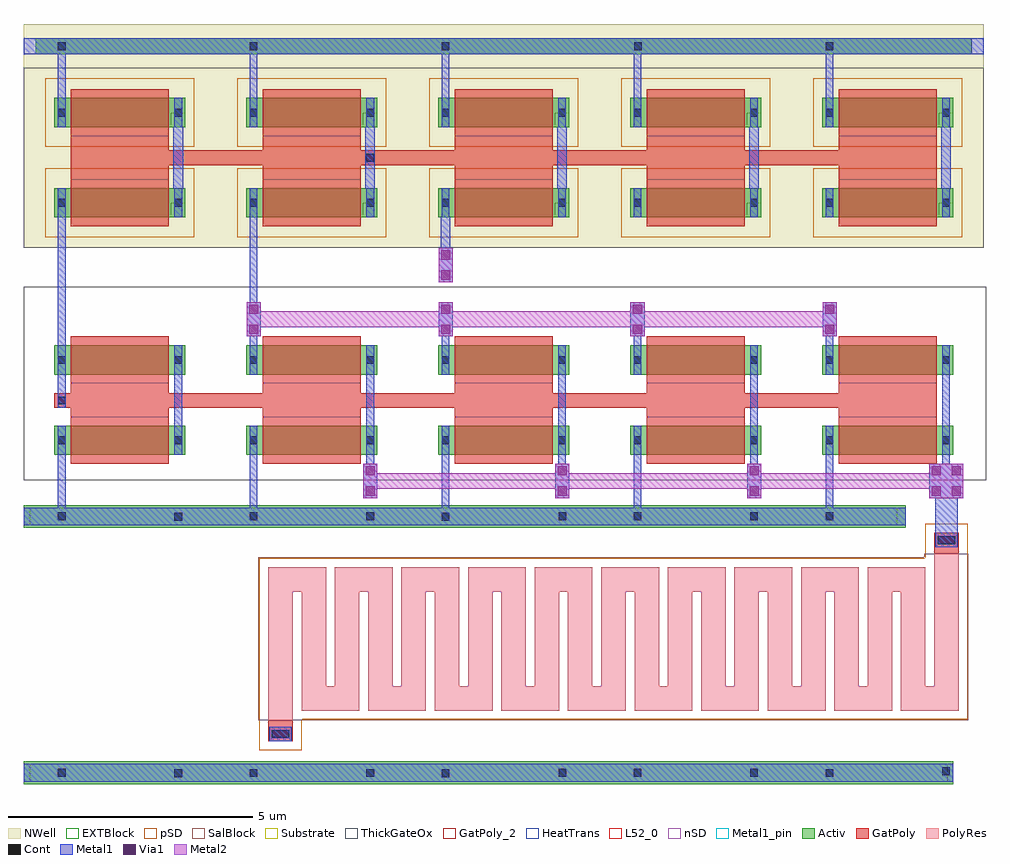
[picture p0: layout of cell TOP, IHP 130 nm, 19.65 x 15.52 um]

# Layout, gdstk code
import gdstk
lib = gdstk.Library(unit=1e-6, precision=1e-09)
def R(c, l, rs):  # rectangles x0, y0, x1, y1
    for r in rs: c.add(gdstk.rectangle(r[:2], r[2:], *l))
def A(c, l, x, y, w, h, nx, ny, dx, dy):  # array of equal rectangles
    R(c, l, [(x+i*dx, y+j*dy, x+i*dx+w, y+j*dy+h) for i in range(nx) for j in range(ny)])
Activ = (1, 0)
GatPoly = (5, 0)
GatPoly_2 = (5, 2)
Cont = (6, 0)
nSD = (7, 0)
Metal1 = (8, 0)
Metal1_pin = (8, 2)
Metal2 = (10, 0)
pSD = (14, 0)
Via1 = (19, 0)
SalBlock = (28, 0)
NWell = (31, 0)
Substrate = (40, 0)
ThickGateOx = (44, 0)
HeatTrans = (51, 0)
L52_0 = (52, 0)
EXTBlock = (111, 0)
PolyRes = (128, 0)

nmoshv = lib.new_cell('nmosHV')
R(nmoshv, Activ, [(0,0,0.3,0.3), (0,0,2.68,0.6), (2.38,0,2.68,0.3)])
R(nmoshv, GatPoly, [(0.34,-0.18,2.34,0.78)])
R(nmoshv, GatPoly_2, [(0.34,-0.18,2.34,0.78)])
R(nmoshv, Cont, [(0.07,0.22,0.23,0.38), (2.45,0.22,2.61,0.38)])
R(nmoshv, Metal1, [(0.07,0,0.23,0.6), (2.45,0,2.61,0.6)])
R(nmoshv, Metal1_pin, [(0.07,0,0.23,0.6), (2.45,0,2.61,0.6)])
R(nmoshv, ThickGateOx, [(-0.27,-0.52,2.95,1.12)])
R(nmoshv, HeatTrans, [(0.34,-0.18,2.34,0.78)])
nmoshv.add(gdstk.Label('nmosHV', (1.34,0.3), layer=63, texttype=0))
nmoshv.add(gdstk.Label('nmosHV', (1.34,0.3), layer=51, texttype=0))

via_stack = lib.new_cell('via_stack')
R(via_stack, Metal1, [(-0.145,-0.35,0.145,0.35)])
R(via_stack, Metal2, [(-0.145,-0.35,0.145,0.35)])
R(via_stack, Via1, [(-0.095,-0.3,0.095,-0.11), (-0.095,0.11,0.095,0.3)])

via_stack_1 = lib.new_cell('via_stack$1')
R(via_stack_1, Metal1, [(-0.35,-0.35,0.35,0.35)])
R(via_stack_1, Metal2, [(-0.35,-0.35,0.35,0.35)])
R(via_stack_1, Via1, [(-0.3,-0.3,-0.11,-0.11), (0.11,-0.3,0.3,-0.11), (-0.3,0.11,-0.11,0.3), (0.11,0.11,0.3,0.3)])

pmoshv = lib.new_cell('pmosHV')
R(pmoshv, Activ, [(0,0,0.3,0.3), (0,0,2.68,0.6), (2.38,0,2.68,0.3)])
R(pmoshv, GatPoly, [(0.34,-0.18,2.34,0.78)])
R(pmoshv, GatPoly_2, [(0.34,-0.18,2.34,0.78)])
R(pmoshv, Cont, [(0.07,0.22,0.23,0.38), (2.45,0.22,2.61,0.38)])
R(pmoshv, Metal1, [(0.07,0,0.23,0.6), (2.45,0,2.61,0.6)])
R(pmoshv, Metal1_pin, [(0.07,0,0.23,0.6), (2.45,0,2.61,0.6)])
R(pmoshv, pSD, [(-0.18,-0.4,2.86,1)])
R(pmoshv, NWell, [(-0.62,-0.62,3.3,1.22)])
R(pmoshv, Substrate, [(2.38,0,2.68,0.3)])
R(pmoshv, ThickGateOx, [(-0.62,-0.62,3.3,1.22)])
R(pmoshv, HeatTrans, [(0.34,-0.18,2.34,0.78)])
pmoshv.add(gdstk.Label('pmosHV', (1.34,0.3), layer=63, texttype=0))
pmoshv.add(gdstk.Label('pmos', (1.34,0.3), layer=51, texttype=0))

rppd = lib.new_cell('rppd')
R(rppd, GatPoly, [(0,-0.43,0.5,-0.2), (0,-0.2,0.5,0), (13.6,3.4,14.1,3.6), (13.6,3.6,14.1,3.83)])
R(rppd, Cont, [(0.07,-0.36,0.43,-0.2), (13.67,3.6,14.03,3.76)])
R(rppd, Metal1, [(0.02,-0.43,0.48,-0.13), (13.62,3.53,14.08,3.83)])
R(rppd, Metal1_pin, [(0.02,-0.43,0.48,-0.13), (13.62,3.53,14.08,3.83)])
R(rppd, pSD, [(-0.18,-0.61,0.68,0.02), (-0.18,0.02,14.28,3.31), (13.42,3.31,14.28,3.4), (13.42,3.4,14.28,4.01)])
R(rppd, SalBlock, [(-0.2,0,14.3,3.33), (13.4,3.33,14.3,3.4)])
A(rppd, L52_0, 0.68, 0.2, 1.18, 0.5, 10, 1, 1.36, 0)
A(rppd, L52_0, 0.68, 0.7, 0.5, 1.93, 19, 1, 0.68, 0)
A(rppd, L52_0, 0, 2.63, 1.18, 0.5, 10, 1, 1.36, 0)
R(rppd, L52_0, [(0,0,0.5,2.63), (13.6,0.7,14.1,3.4)])
R(rppd, EXTBlock, [(-0.18,-0.61,0.68,0), (-0.2,0,14.3,3.33), (13.4,3.33,14.3,3.4), (13.42,3.4,14.28,4.01)])
A(rppd, PolyRes, 0.68, 0.2, 1.18, 0.5, 10, 1, 1.36, 0)
A(rppd, PolyRes, 0.68, 0.7, 0.5, 1.93, 19, 1, 0.68, 0)
A(rppd, PolyRes, 0, 2.63, 1.18, 0.5, 10, 1, 1.36, 0)
R(rppd, PolyRes, [(0,0,0.5,2.63), (13.6,0.7,14.1,3.4)])
rppd.add(gdstk.Label('rppd r=29192.452', (0.25,0.965), layer=63, texttype=0))
rppd.add(gdstk.Label('rppd', (0.25,1.315), layer=52, texttype=0))
rppd.add(gdstk.Label('rppd', (0.59,2.88), layer=52, texttype=0))
rppd.add(gdstk.Label('rppd', (0.93,1.665), layer=52, texttype=0))
rppd.add(gdstk.Label('rppd', (1.27,0.45), layer=52, texttype=0))
rppd.add(gdstk.Label('rppd', (1.61,1.665), layer=52, texttype=0))
rppd.add(gdstk.Label('rppd', (1.95,2.88), layer=52, texttype=0))
rppd.add(gdstk.Label('rppd', (2.29,1.665), layer=52, texttype=0))
rppd.add(gdstk.Label('rppd', (2.63,0.45), layer=52, texttype=0))
rppd.add(gdstk.Label('rppd', (2.97,1.665), layer=52, texttype=0))
rppd.add(gdstk.Label('rppd', (3.31,2.88), layer=52, texttype=0))
rppd.add(gdstk.Label('rppd', (3.65,1.665), layer=52, texttype=0))
rppd.add(gdstk.Label('rppd', (3.99,0.45), layer=52, texttype=0))
rppd.add(gdstk.Label('rppd', (4.33,1.665), layer=52, texttype=0))
rppd.add(gdstk.Label('rppd', (4.67,2.88), layer=52, texttype=0))
rppd.add(gdstk.Label('rppd', (5.01,1.665), layer=52, texttype=0))
rppd.add(gdstk.Label('rppd', (5.35,0.45), layer=52, texttype=0))
rppd.add(gdstk.Label('rppd', (5.69,1.665), layer=52, texttype=0))
rppd.add(gdstk.Label('rppd', (6.03,2.88), layer=52, texttype=0))
rppd.add(gdstk.Label('rppd', (6.37,1.665), layer=52, texttype=0))
rppd.add(gdstk.Label('rppd', (6.71,0.45), layer=52, texttype=0))
rppd.add(gdstk.Label('rppd', (7.05,1.665), layer=52, texttype=0))
rppd.add(gdstk.Label('rppd', (7.39,2.88), layer=52, texttype=0))
rppd.add(gdstk.Label('rppd', (7.73,1.665), layer=52, texttype=0))
rppd.add(gdstk.Label('rppd', (8.07,0.45), layer=52, texttype=0))
rppd.add(gdstk.Label('rppd', (8.41,1.665), layer=52, texttype=0))
rppd.add(gdstk.Label('rppd', (8.75,2.88), layer=52, texttype=0))
rppd.add(gdstk.Label('rppd', (9.09,1.665), layer=52, texttype=0))
rppd.add(gdstk.Label('rppd', (9.43,0.45), layer=52, texttype=0))
rppd.add(gdstk.Label('rppd', (9.77,1.665), layer=52, texttype=0))
rppd.add(gdstk.Label('rppd', (10.11,2.88), layer=52, texttype=0))
rppd.add(gdstk.Label('rppd', (10.45,1.665), layer=52, texttype=0))
rppd.add(gdstk.Label('rppd', (10.79,0.45), layer=52, texttype=0))
rppd.add(gdstk.Label('rppd', (11.13,1.665), layer=52, texttype=0))
rppd.add(gdstk.Label('rppd', (11.47,2.88), layer=52, texttype=0))
rppd.add(gdstk.Label('rppd', (11.81,1.665), layer=52, texttype=0))
rppd.add(gdstk.Label('rppd', (12.15,0.45), layer=52, texttype=0))
rppd.add(gdstk.Label('rppd', (12.49,1.665), layer=52, texttype=0))
rppd.add(gdstk.Label('rppd', (12.83,2.88), layer=52, texttype=0))
rppd.add(gdstk.Label('rppd', (13.17,1.665), layer=52, texttype=0))
rppd.add(gdstk.Label('rppd', (13.51,0.45), layer=52, texttype=0))
rppd.add(gdstk.Label('rppd', (13.85,2.05), layer=52, texttype=0))

top = lib.new_cell('TOP')
A(top, Cont, 2.76, 10.815, 0.16, 0.16, 3, 1, 3.92, 0)
R(top, Cont, [(5.14,-4.03,5.3,-3.87), (10.6,-4.03,10.76,-3.87), (6.68,-4.025,6.84,-3.865), (9.06,-4.025,9.22,-3.865), (18.44,-4.025,18.6,-3.865), (2.76,-4.02,2.92,-3.86), (12.99,-4.02,13.15,-3.86), (14.52,-4.02,14.68,-3.86), (16.9,-4.02,17.06,-3.86), (20.82,-3.99,20.98,-3.83), (5.14,1.21,5.3,1.37), (10.6,1.21,10.76,1.37), (6.68,1.215,6.84,1.375), (9.06,1.215,9.22,1.375), (18.44,1.215,18.6,1.375), (2.76,1.22,2.92,1.38), (12.99,1.22,13.15,1.38), (14.52,1.22,14.68,1.38), (16.9,1.22,17.06,1.38), (2.76,3.58,2.92,3.74), (9.06,8.54,9.22,8.7), (14.53,10.815,14.69,10.975), (18.44,10.815,18.6,10.975)])
R(top, NWell, [(2.07,6.78,21.67,11.35)])
R(top, ThickGateOx, [(2.07,2.03,21.72,5.98), (2.42,2.03,21.32,5.31)])
top.add(gdstk.FlexPath([(20.9,1.67),(20.9,4.79)], 0.16, ends="flush", simple_path=True, layer=8, datatype=0))  # Metal1
top.add(gdstk.FlexPath([(6.76,4.19),(6.76,8)], 0.16, ends="flush", simple_path=True, layer=8, datatype=0))  # Metal1
top.add(gdstk.FlexPath([(10.68,4.79),(10.68,5.67)], 0.16, ends="flush", simple_path=True, layer=8, datatype=0))  # Metal1
top.add(gdstk.FlexPath([(14.6,4.79),(14.6,5.67)], 0.16, ends="flush", simple_path=True, layer=8, datatype=0))  # Metal1
top.add(gdstk.FlexPath([(18.52,4.79),(18.52,5.67)], 0.16, ends="flush", simple_path=True, layer=8, datatype=0))  # Metal1
top.add(gdstk.FlexPath([(5.22,3.15),(5.22,4.19)], 0.16, ends="flush", simple_path=True, layer=8, datatype=0))  # Metal1
top.add(gdstk.FlexPath([(20.91,0.96),(20.91,2.02)], 0.46, ends="flush", simple_path=True, layer=8, datatype=0))  # Metal1
top.add(gdstk.FlexPath([(6.76,2.55),(6.76,1.295)], 0.16, ends="flush", simple_path=True, layer=8, datatype=0))  # Metal1
top.add(gdstk.FlexPath([(10.68,2.55),(10.68,1.295)], 0.16, ends="flush", simple_path=True, layer=8, datatype=0))  # Metal1
top.add(gdstk.FlexPath([(14.6,2.55),(14.6,1.295)], 0.16, ends="flush", simple_path=True, layer=8, datatype=0))  # Metal1
top.add(gdstk.FlexPath([(18.52,2.55),(18.52,1.295)], 0.16, ends="flush", simple_path=True, layer=8, datatype=0))  # Metal1
top.add(gdstk.FlexPath([(20.9,9.24),(20.9,8)], 0.2, ends="flush", simple_path=True, layer=8, datatype=0))  # Metal1
top.add(gdstk.FlexPath([(16.98,9.24),(16.98,8)], 0.2, ends="flush", simple_path=True, layer=8, datatype=0))  # Metal1
top.add(gdstk.FlexPath([(13.06,9.24),(13.06,8)], 0.2, ends="flush", simple_path=True, layer=8, datatype=0))  # Metal1
top.add(gdstk.FlexPath([(5.22,9.24),(5.22,8)], 0.2, ends="flush", simple_path=True, layer=8, datatype=0))  # Metal1
top.add(gdstk.FlexPath([(9.14,9.24),(9.14,8)], 0.2, ends="flush", simple_path=True, layer=8, datatype=0))  # Metal1
top.add(gdstk.FlexPath([(2.84,9.24),(2.84,10.84)], 0.16, ends="flush", simple_path=True, layer=8, datatype=0))  # Metal1
top.add(gdstk.FlexPath([(2.07,10.895),(21.67,10.895)], 0.33, ends="flush", simple_path=True, layer=8, datatype=0))  # Metal1
top.add(gdstk.FlexPath([(18.52,9.24),(18.52,10.84)], 0.16, ends="flush", simple_path=True, layer=8, datatype=0))  # Metal1
top.add(gdstk.FlexPath([(14.6,9.24),(14.6,10.84)], 0.16, ends="flush", simple_path=True, layer=8, datatype=0))  # Metal1
top.add(gdstk.FlexPath([(10.68,9.24),(10.68,10.84)], 0.16, ends="flush", simple_path=True, layer=8, datatype=0))  # Metal1
top.add(gdstk.FlexPath([(6.76,9.24),(6.76,10.84)], 0.16, ends="flush", simple_path=True, layer=8, datatype=0))  # Metal1
top.add(gdstk.FlexPath([(2.84,2.85),(2.84,1.295)], 0.16, ends="flush", simple_path=True, layer=8, datatype=0))  # Metal1
top.add(gdstk.FlexPath([(2.07,1.295),(20.08,1.295)], 0.36, ends="flush", simple_path=True, layer=8, datatype=0))  # Metal1
top.add(gdstk.FlexPath([(2.84,3.51),(2.84,8)], 0.16, ends="flush", simple_path=True, layer=8, datatype=0))  # Metal1
top.add(gdstk.FlexPath([(9.14,1.67),(9.14,4.79)], 0.16, ends="flush", simple_path=True, layer=8, datatype=0))  # Metal1
top.add(gdstk.FlexPath([(16.98,1.67),(16.98,4.79)], 0.16, ends="flush", simple_path=True, layer=8, datatype=0))  # Metal1
top.add(gdstk.FlexPath([(13.06,1.67),(13.06,4.79)], 0.16, ends="flush", simple_path=True, layer=8, datatype=0))  # Metal1
top.add(gdstk.FlexPath([(10.68,7.4),(10.68,6.21)], 0.2, ends="flush", simple_path=True, layer=8, datatype=0))  # Metal1
top.add(gdstk.FlexPath([(2.07,-3.94),(21.05,-3.94)], 0.36, ends="flush", simple_path=True, layer=8, datatype=0))  # Metal1
top.add(gdstk.FlexPath([(21.43,10.895),(2.31,10.895)], 0.33, ends="flush", simple_path=True, layer=1, datatype=0))  # Activ
top.add(gdstk.FlexPath([(2.07,1.295),(20.08,1.295)], 0.46, ends="flush", simple_path=True, layer=1, datatype=0))  # Activ
top.add(gdstk.FlexPath([(2.07,-3.94),(21.05,-3.94)], 0.46, ends="flush", simple_path=True, layer=1, datatype=0))  # Activ
top.add(gdstk.FlexPath([(4.03,4.49),(4.03,2.85)], 2, ends="flush", simple_path=True, layer=5, datatype=0))  # GatPoly
top.add(gdstk.FlexPath([(7.95,4.49),(7.95,2.85)], 2, ends="flush", simple_path=True, layer=5, datatype=0))  # GatPoly
top.add(gdstk.FlexPath([(11.87,4.49),(11.87,2.85)], 2, ends="flush", simple_path=True, layer=5, datatype=0))  # GatPoly
top.add(gdstk.FlexPath([(15.79,4.49),(15.79,2.85)], 2, ends="flush", simple_path=True, layer=5, datatype=0))  # GatPoly
top.add(gdstk.FlexPath([(19.71,4.49),(19.71,2.85)], 2, ends="flush", simple_path=True, layer=5, datatype=0))  # GatPoly
top.add(gdstk.FlexPath([(2.69,3.66),(18.71,3.66)], 0.3, ends="flush", simple_path=True, layer=5, datatype=0))  # GatPoly
top.add(gdstk.FlexPath([(19.71,9.06),(19.71,8.18)], 2, ends="flush", simple_path=True, layer=5, datatype=0))  # GatPoly
top.add(gdstk.FlexPath([(15.79,9.06),(15.79,8.18)], 2, ends="flush", simple_path=True, layer=5, datatype=0))  # GatPoly
top.add(gdstk.FlexPath([(11.87,9.06),(11.87,8.18)], 2, ends="flush", simple_path=True, layer=5, datatype=0))  # GatPoly
top.add(gdstk.FlexPath([(7.95,9.06),(7.95,8.18)], 2, ends="flush", simple_path=True, layer=5, datatype=0))  # GatPoly
top.add(gdstk.FlexPath([(4.03,9.06),(4.03,8.18)], 2, ends="flush", simple_path=True, layer=5, datatype=0))  # GatPoly
top.add(gdstk.FlexPath([(19.71,8.62),(4.03,8.62)], 0.3, ends="flush", simple_path=True, layer=5, datatype=0))  # GatPoly
top.add(gdstk.FlexPath([(19.91,1.295),(2.19,1.295)], 0.36, ends="flush", simple_path=True, layer=14, datatype=0))  # pSD
top.add(gdstk.FlexPath([(20.94,-3.94),(2.19,-3.94)], 0.36, ends="flush", simple_path=True, layer=14, datatype=0))  # pSD
top.add(gdstk.FlexPath([(2.31,10.895),(21.43,10.895)], 0.33, ends="flush", simple_path=True, layer=7, datatype=0))  # nSD
top.add(gdstk.FlexPath([(20.76,2.02),(9.29,2.02)], 0.32, ends="flush", simple_path=True, layer=10, datatype=0))  # Metal2
top.add(gdstk.FlexPath([(6.62,5.32),(18.67,5.32)], 0.32, ends="flush", simple_path=True, layer=10, datatype=0))  # Metal2
top.add(gdstk.Reference(nmoshv, (18.37,4.19)))
top.add(gdstk.Reference(nmoshv, (2.69,4.19)))
top.add(gdstk.Reference(nmoshv, (10.53,4.19)))
top.add(gdstk.Reference(nmoshv, (6.61,4.19)))
top.add(gdstk.Reference(nmoshv, (18.37,2.55)))
top.add(gdstk.Reference(nmoshv, (14.45,2.55)))
top.add(gdstk.Reference(nmoshv, (6.61,2.55)))
top.add(gdstk.Reference(via_stack, (9.145,2.02)))
top.add(gdstk.Reference(via_stack, (13.065,2.02)))
top.add(gdstk.Reference(nmoshv, (10.53,2.55)))
top.add(gdstk.Reference(via_stack, (16.985,2.02)))
top.add(gdstk.Reference(via_stack, (14.6,5.32)))
top.add(gdstk.Reference(via_stack, (18.525,5.32)))
top.add(gdstk.Reference(via_stack, (10.685,5.32)))
top.add(gdstk.Reference(via_stack_1, (20.905,2.02)))
top.add(gdstk.Reference(via_stack, (6.765,5.32)))
top.add(gdstk.Reference(nmoshv, (2.69,2.55)))
top.add(gdstk.Reference(pmoshv, (18.37,7.4)))
top.add(gdstk.Reference(pmoshv, (2.69,9.24)))
top.add(gdstk.Reference(pmoshv, (18.37,9.24)))
top.add(gdstk.Reference(pmoshv, (14.45,7.4)))
top.add(gdstk.Reference(pmoshv, (14.45,9.24)))
top.add(gdstk.Reference(pmoshv, (10.53,7.4)))
top.add(gdstk.Reference(pmoshv, (6.61,9.24)))
top.add(gdstk.Reference(pmoshv, (10.53,9.24)))
top.add(gdstk.Reference(pmoshv, (6.61,7.4)))
top.add(gdstk.Reference(pmoshv, (2.69,7.4)))
top.add(gdstk.Reference(rppd, (7.06,-2.87)))
top.add(gdstk.Reference(nmoshv, (14.45,4.19)))
top.add(gdstk.Reference(via_stack, (10.685,6.43)))

lib.write_gds('TOP.gds')
